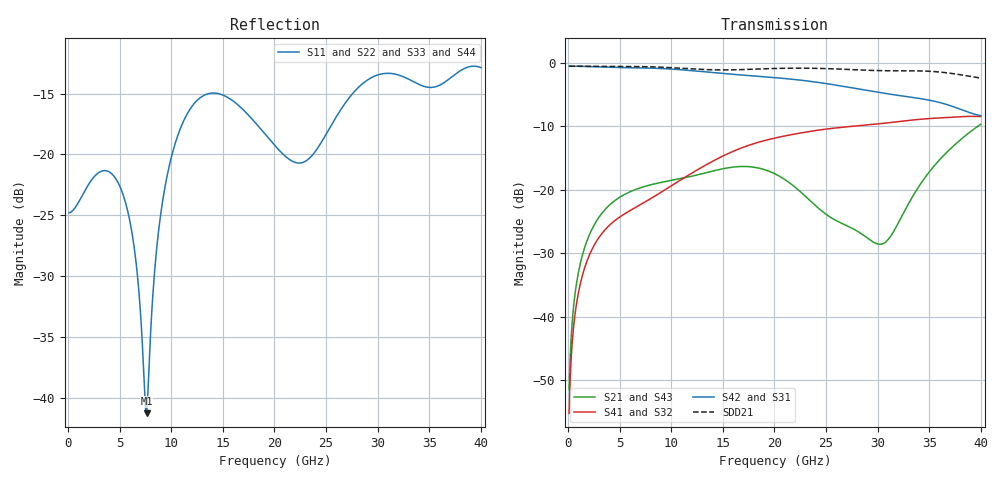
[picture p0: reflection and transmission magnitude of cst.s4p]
! E_s8_L1L8_p1000_oval_g2: pair L1→L8, pitch 1 mm, one oval antipad, 2 GND vias
! stackup: 8-layer 1.6 mm FR-4 (generic)
! ports: 1 P near, 2 N near, 3 P far, 4 N far
! CST Studio Suite 2025.5 Release from 2025-05-30, time domain (FIT, hexahedral, PBA), 162864 mesh cells, 41 s
! mesh: {'lpw': 20, 'lpb': 20, 'minstep': 0.0, 'ratio': 20}; ports: port 1 (face); port 2 (face); port 3 (face); port 4 (face)
! interpolated from CST's 1001 samples to the case grid
# Hz S RI R 50
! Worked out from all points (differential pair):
!   400 points, 100 MHz to 40 GHz, reference 50 ohm
!   strongest paths, dB at 100 MHz, 10.1 GHz, 20.1 GHz, 30.1 GHz, 40 GHz:
!     S42: -0.5, -1.0, -2.3, -4.7, -8.3
!     S31: -0.5, -1.0, -2.3, -4.7, -8.3
!     S41: -55.2, -19.3, -11.8, -9.6, -8.4
!     S32: -55.2, -19.3, -11.8, -9.6, -8.4
!     S21: -51.5, -18.5, -17.5, -28.6, -9.7
!     S43: -51.5, -18.5, -17.5, -28.6, -9.7
!   taken as a pair (ports 2,1 in; 4,3 out), SDD21 dB: -0.5, -0.8, -0.9, -1.2, -2.4
!   lowest |S11| = -41.3 dB at 7.6 GHz (marker M1), VSWR 1.02, Z = 49.2 - j0.389 ohm
!   |S11| at or under -10 dB: start of sweep to end of sweep
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1e8  -0.0572 0.00532  0.00151 0.00219  0.9411 -0.036  0.000687 -0.0016
     0.00151 0.00219  -0.0572 0.00532  0.000687 -0.0016  0.9411 -0.036
     0.9411 -0.036  0.000687 -0.0016  -0.0572 0.00532  0.00151 0.00219
     0.000687 -0.0016  0.9411 -0.036  0.00151 0.00219  -0.0572 0.00532
7.6e9  -0.00767 -0.00395  0.0135 -0.1065  -0.8771 -0.2457  -0.00351 0.0815
       0.0135 -0.1065  -0.00767 -0.00395  -0.00351 0.0815  -0.8771 -0.2457
       -0.8771 -0.2457  -0.00351 0.0815  -0.00768 -0.00396  0.0135 -0.1065
       -0.00351 0.0815  -0.8771 -0.2457  0.0135 -0.1065  -0.00768 -0.00395
1.2e10  0.1359 0.0794  -0.127 -0.0167  -0.1478 0.8556  0.1354 0.00572
        -0.127 -0.0167  0.1359 0.0794  0.1354 0.00572  -0.1478 0.8556
        -0.1478 0.8556  0.1354 0.00572  0.1359 0.0794  -0.127 -0.0167
        0.1354 0.00572  -0.1478 0.8556  -0.127 -0.0167  0.1359 0.0794
1.64e10  0.1007 -0.1249  -0.00299 0.1522  0.8036 0.0793  -0.0326 -0.2049
         -0.00299 0.1522  0.1007 -0.1249  -0.0326 -0.2049  0.8036 0.0793
         0.8036 0.0793  -0.0326 -0.2049  0.1007 -0.1249  -0.00299 0.1521
         -0.0326 -0.2049  0.8036 0.0793  -0.00299 0.1521  0.1007 -0.1249
2.44e10  -0.0703 0.0841  0.0171 -0.068  -0.6791 -0.1636  0.1119 0.2744
         0.0171 -0.068  -0.0703 0.0841  0.1119 0.2744  -0.6791 -0.1636
         -0.6791 -0.1636  0.1119 0.2744  -0.0703 0.0841  0.0171 -0.068
         0.1119 0.2744  -0.6791 -0.1636  0.0171 -0.068  -0.0703 0.0841
3.3e10  0.1733 -0.1068  0.0775 0.00954  0.5277 0.1139  -0.2671 -0.2298
        0.0775 0.00954  0.1733 -0.1068  -0.2671 -0.2298  0.5277 0.1139
        0.5277 0.1139  -0.2671 -0.2298  0.1733 -0.1068  0.0775 0.00953
        -0.2671 -0.2298  0.5277 0.1139  0.0775 0.00953  0.1733 -0.1068
4e10  -0.1315 -0.1851  -0.3205 0.075  -0.2427 -0.2972  0.294 0.2381
      -0.3205 0.075  -0.1315 -0.1851  0.294 0.2381  -0.2427 -0.2972
      -0.2427 -0.2972  0.294 0.2381  -0.1315 -0.1851  -0.3205 0.0751
      0.294 0.2381  -0.2427 -0.2972  -0.3205 0.0751  -0.1315 -0.1851
